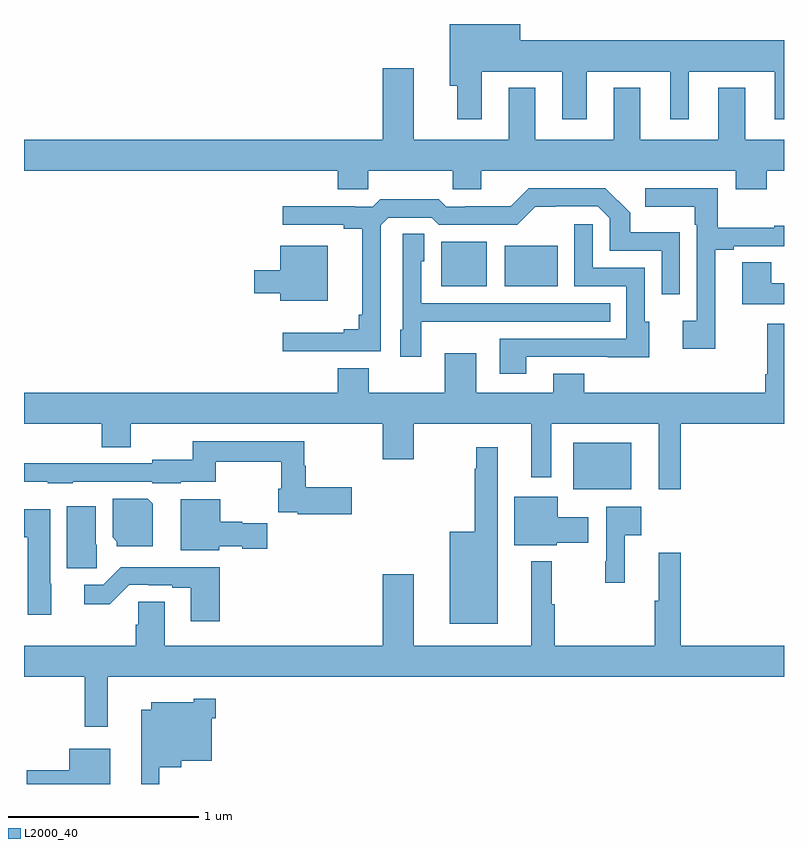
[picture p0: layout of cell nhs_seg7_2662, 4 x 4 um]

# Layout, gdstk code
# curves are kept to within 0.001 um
import gdstk
lib = gdstk.Library(unit=1e-6, precision=1e-09)
def R(c, l, rs):  # rectangles x0, y0, x1, y1
    for r in rs: c.add(gdstk.rectangle(r[:2], r[2:], *l))
def P(c, l, *ps):  # polygons
    for p in ps: c.add(gdstk.Polygon(p, *l))
L2000_40 = (2000, 40)

nhs_seg7_2662 = lib.new_cell('nhs_seg7_2662')
R(nhs_seg7_2662, L2000_40, [(285.89,1053.551,286.195,1053.796), (285.197,1054.619,285.436,1054.855), (285.53,1054.619,285.808,1054.834)])
P(nhs_seg7_2662, L2000_40, [(285.409,1055.75),(285.833,1055.75),(285.833,1055.499),(285.961,1055.499),(285.961,1055.75),(286.4,1055.75),(286.4,1055.499),(286.498,1055.499),(286.498,1055.75),(286.952,1055.75),(286.952,1055.499),(287,1055.499),(287,1055.914),(285.613,1055.914),(285.613,1056),(285.242,1056),(285.242,1055.675),(285.281,1055.675),(285.281,1055.499),(285.409,1055.499)],
  [(286.909,1055.228),(287,1055.228),(287,1055.392),(286.795,1055.392),(286.795,1055.665),(286.655,1055.665),(286.655,1055.392),(286.243,1055.392),(286.243,1055.665),(286.103,1055.665),(286.103,1055.392),(285.691,1055.392),(285.691,1055.665),(285.551,1055.665),(285.551,1055.392),(285.052,1055.392),(285.052,1055.767),(284.888,1055.767),(284.888,1055.392),(283,1055.392),(283,1055.228),(284.651,1055.228),(284.651,1055.13),(284.811,1055.13),(284.811,1055.228),(285.256,1055.228),(285.256,1055.13),(285.406,1055.13),(285.406,1055.228),(286.745,1055.228),(286.745,1055.129),(286.909,1055.129)],
  [(284.877,1054.941),(284.916,1054.98),(285.147,1054.98),(285.183,1054.944),(285.597,1054.944),(285.692,1055.039),(286.02,1055.04),(286.083,1054.977),(286.083,1054.806),(286.356,1054.806),(286.356,1054.578),(286.452,1054.578),(286.452,1054.903),(286.191,1054.903),(286.191,1055.006),(286.06,1055.136),(285.657,1055.136),(285.563,1055.042),(285.322,1055.042),(285.322,1055.037),(285.222,1055.037),(285.183,1055.077),(284.875,1055.077),(284.835,1055.037),(284.741,1055.037),(284.741,1055.042),(284.361,1055.042),(284.361,1054.944),(284.684,1054.944),(284.684,1054.922),(284.78,1054.922),(284.78,1054.471),(284.761,1054.471),(284.761,1054.394),(284.684,1054.394),(284.684,1054.375),(284.361,1054.375),(284.361,1054.278),(284.877,1054.278)],
  [(286.639,1054.812),(286.735,1054.812),(286.735,1054.83),(287,1054.83),(287,1054.939),(286.949,1054.939),(286.949,1054.928),(286.651,1054.928),(286.651,1055.136),(286.269,1055.136),(286.269,1055.039),(286.53,1055.039),(286.53,1054.943),(286.542,1054.943),(286.542,1054.438),(286.467,1054.438),(286.467,1054.29),(286.639,1054.29)],
  [(285.643,1054.248),(286.073,1054.248),(286.073,1054.247),(286.291,1054.247),(286.291,1054.434),(286.266,1054.434),(286.266,1054.716),(285.993,1054.716),(285.993,1054.945),(285.897,1054.945),(285.897,1054.62),(286.17,1054.62),(286.17,1054.344),(285.503,1054.344),(285.503,1054.158),(285.643,1054.158)],
  [(285.09,1054.433),(285.407,1054.433),(285.407,1054.434),(286.085,1054.434),(286.085,1054.53),(285.09,1054.53),(285.09,1054.752),(285.106,1054.752),(285.106,1054.895),(284.994,1054.895),(284.994,1054.392),(284.981,1054.392),(284.981,1054.248),(285.09,1054.248)],
  [(284.599,1054.834),(284.348,1054.834),(284.348,1054.705),(284.211,1054.705),(284.211,1054.583),(284.348,1054.583),(284.348,1054.544),(284.599,1054.544)],
  [(287,1054.636),(286.933,1054.636),(286.933,1054.745),(286.781,1054.745),(286.781,1054.526),(287,1054.526)],
  [(286.457,1053.896),(287,1053.896),(287,1054.423),(286.913,1054.423),(286.913,1054.156),(286.901,1054.156),(286.901,1054.06),(285.949,1054.06),(285.949,1054.159),(285.785,1054.159),(285.785,1054.06),(285.379,1054.06),(285.379,1054.267),(285.215,1054.267),(285.215,1054.06),(284.815,1054.06),(284.815,1054.189),(284.651,1054.189),(284.651,1054.06),(283,1054.06),(283,1053.896),(283.408,1053.896),(283.408,1053.772),(283.563,1053.772),(283.563,1053.896),(284.888,1053.896),(284.888,1053.708),(285.052,1053.708),(285.052,1053.896),(285.671,1053.896),(285.671,1053.615),(285.775,1053.615),(285.775,1053.896),(286.34,1053.896),(286.34,1053.552),(286.457,1053.552)],
  [(284.725,1053.561),(284.483,1053.561),(284.483,1053.675),(284.476,1053.675),(284.476,1053.804),(283.887,1053.804),(283.887,1053.706),(283.674,1053.706),(283.674,1053.687),(283.257,1053.687),(283.257,1053.689),(283.025,1053.689),(283.025,1053.687),(283,1053.687),(283,1053.59),(283.125,1053.59),(283.125,1053.584),(283.257,1053.584),(283.257,1053.591),(283.674,1053.591),(283.674,1053.584),(283.824,1053.584),(283.824,1053.59),(284.008,1053.59),(284.008,1053.696),(284.355,1053.696),(284.355,1053.553),(284.337,1053.553),(284.337,1053.43),(284.44,1053.43),(284.44,1053.419),(284.725,1053.419)],
  [(285.493,1053.772),(285.379,1053.772),(285.379,1053.659),(285.372,1053.659),(285.372,1053.328),(285.242,1053.328),(285.242,1052.843),(285.493,1052.843)],
  [(285.804,1053.269),(285.97,1053.269),(285.97,1053.403),(285.808,1053.403),(285.808,1053.511),(285.581,1053.511),(285.581,1053.257),(285.804,1053.257)],
  [(283.678,1053.476),(283.652,1053.502),(283.466,1053.502),(283.466,1053.298),(283.488,1053.276),(283.488,1053.251),(283.678,1053.251)],
  [(284.028,1053.251),(284.148,1053.251),(284.148,1053.239),(284.279,1053.239),(284.279,1053.373),(284.148,1053.373),(284.148,1053.381),(284.032,1053.381),(284.032,1053.5),(283.826,1053.5),(283.826,1053.23),(284.028,1053.23)],
  [(283.382,1053.258),(283.378,1053.258),(283.378,1053.463),(283.226,1053.463),(283.226,1053.135),(283.382,1053.135)],
  [(286.163,1053.308),(286.249,1053.308),(286.249,1053.46),(286.065,1053.46),(286.065,1053.172),(286.06,1053.172),(286.06,1053.06),(286.163,1053.06)],
  [(283.144,1053.054),(283.138,1053.054),(283.138,1053.445),(283.001,1053.445),(283.001,1053.3),(283.019,1053.3),(283.019,1052.892),(283.144,1052.892)],
  [(283.44,1052.564),(287,1052.564),(287,1052.728),(286.457,1052.728),(286.457,1053.217),(286.34,1053.217),(286.34,1052.964),(286.321,1052.964),(286.321,1052.728),(285.793,1052.728),(285.793,1052.945),(285.778,1052.945),(285.778,1053.172),(285.671,1053.172),(285.671,1052.728),(285.052,1052.728),(285.052,1053.103),(284.888,1053.103),(284.888,1052.728),(283.741,1052.728),(283.741,1052.96),(283.602,1052.96),(283.602,1052.838),(283.589,1052.838),(283.589,1052.728),(283,1052.728),(283,1052.564),(283.321,1052.564),(283.321,1052.301),(283.44,1052.301)],
  [(284.03,1053.142),(283.51,1053.142),(283.416,1053.048),(283.317,1053.048),(283.317,1052.946),(283.452,1052.946),(283.554,1053.048),(283.654,1053.048),(283.654,1053.045),(283.781,1053.045),(283.781,1053.033),(283.877,1053.033),(283.877,1052.856),(284.03,1052.856)],
  [(283.713,1052.087),(283.828,1052.087),(283.828,1052.123),(283.987,1052.123),(283.987,1052.345),(284.009,1052.345),(284.009,1052.449),(283.893,1052.449),(283.893,1052.431),(283.67,1052.431),(283.67,1052.392),(283.616,1052.392),(283.616,1052),(283.713,1052)],
  [(283.453,1052.185),(283.238,1052.185),(283.238,1052.072),(283.014,1052.072),(283.014,1052),(283.453,1052)])

lib.write_gds('nhs_seg7_2662.gds')
